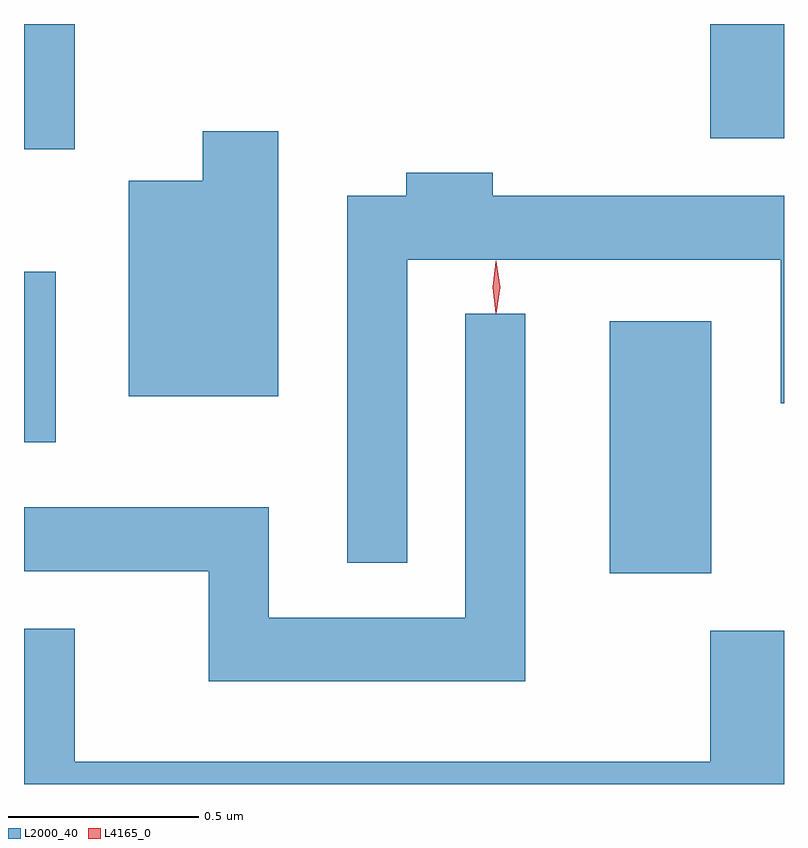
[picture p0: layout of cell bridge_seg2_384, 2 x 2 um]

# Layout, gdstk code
import gdstk
lib = gdstk.Library(unit=1e-6, precision=1e-09)
def R(c, l, rs):  # rectangles x0, y0, x1, y1
    for r in rs: c.add(gdstk.rectangle(r[:2], r[2:], *l))
def P(c, l, *ps):  # polygons
    for p in ps: c.add(gdstk.Polygon(p, *l))
L2000_40 = (2000, 40)
L4165_0 = (4165, 0)

bridge_seg2_384 = lib.new_cell('bridge_seg2_384')
R(bridge_seg2_384, L2000_40, [(617.446,1000.241,617.714,1000.904), (615.905,1000.586,615.989,1001.034), (615.905,1001.356,616.039,1001.686), (617.711,1001.386,617.905,1001.686)])
P(bridge_seg2_384, L2000_40, [(616.574,1001.404),(616.376,1001.404),(616.376,1001.274),(616.181,1001.274),(616.181,1000.706),(616.574,1000.706)],
  [(616.914,1001.066),(617.896,1001.066),(617.896,1000.688),(617.905,1000.688),(617.905,1001.234),(617.139,1001.234),(617.139,1001.294),(616.911,1001.294),(616.911,1001.234),(616.756,1001.234),(616.756,1000.268),(616.914,1000.268)],
  [(617.224,1000.923),(617.066,1000.923),(617.066,1000.124),(616.549,1000.124),(616.549,1000.414),(615.905,1000.414),(615.905,1000.246),(616.391,1000.246),(616.391,999.956),(617.224,999.956)],
  [(617.905,1000.089),(617.711,1000.089),(617.711,999.744),(616.039,999.744),(616.039,1000.094),(615.905,1000.094),(615.905,999.686),(617.905,999.686)])
P(bridge_seg2_384, L4165_0, [(617.148,1000.923),(617.147,1000.924),(617.138,1000.993),(617.147,1001.062),(617.148,1001.063),(617.148,1001.062),(617.158,1000.993),(617.148,1000.924)])

lib.write_gds('bridge_seg2_384.gds')
